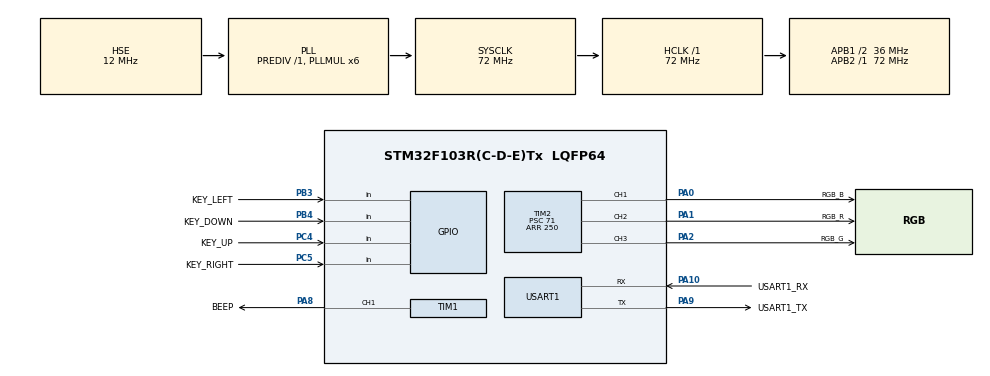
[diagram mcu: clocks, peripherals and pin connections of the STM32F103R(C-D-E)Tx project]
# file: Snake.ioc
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Mcu.Family=STM32F1
Mcu.Name=STM32F103R(C-D-E)Tx
Mcu.Package=LQFP64
NVIC.PriorityGroup=NVIC_PRIORITYGROUP_4
NVIC.USART1_IRQn=true\:0\:0\:false\:false\:true\:true\:true
PA0-WKUP.GPIO_Label=RGB_B
PA0-WKUP.Signal=S_TIM2_CH1_ETR
PA1.GPIO_Label=RGB_R
PA1.Signal=S_TIM2_CH2
PA10.GPIO_Label=USART1_RX
PA10.Mode=Asynchronous
PA10.Signal=USART1_RX
PA13.Mode=Serial_Wire
PA13.Signal=SYS_JTMS-SWDIO
PA14.Mode=Serial_Wire
PA14.Signal=SYS_JTCK-SWCLK
PA2.GPIO_Label=RGB_G
PA2.Signal=S_TIM2_CH3
PA8.GPIO_Label=BEEP
PA8.Signal=S_TIM1_CH1
PA9.GPIO_Label=USART1_TX
PA9.Mode=Asynchronous
PA9.Signal=USART1_TX
PB3.GPIO_Label=KEY_LEFT
PB3.Signal=GPIO_Input
PB4.GPIO_Label=KEY_DOWN
PB4.Signal=GPIO_Input
PC4.GPIO_Label=KEY_UP
PC4.Signal=GPIO_Input
PC5.GPIO_Label=KEY_RIGHT
PC5.Signal=GPIO_Input
PD0-OSC_IN.Mode=HSE-External-Oscillator
PD0-OSC_IN.Signal=RCC_OSC_IN
PD1-OSC_OUT.Mode=HSE-External-Oscillator
PD1-OSC_OUT.Signal=RCC_OSC_OUT
ProjectManager.HeapSize=0x200
ProjectManager.StackSize=0x400
ProjectManager.TargetToolchain=TrueSTUDIO
RCC.AHBFreq_Value=72000000
RCC.APB1CLKDivider=RCC_HCLK_DIV2
RCC.APB1Freq_Value=36000000
RCC.APB1TimFreq_Value=72000000
RCC.APB2Freq_Value=72000000
RCC.APB2TimFreq_Value=72000000
RCC.HCLKFreq_Value=72000000
RCC.HSE_VALUE=12000000
RCC.PLLMUL=RCC_PLL_MUL6
RCC.PLLSourceVirtual=RCC_PLLSOURCE_HSE
RCC.SYSCLKFreq_VALUE=72000000
RCC.SYSCLKSource=RCC_SYSCLKSOURCE_PLLCLK
RCC.USBFreq_Value=72000000
SH.S_TIM1_CH1.0=TIM1_CH1,PWM Generation1 CH1
SH.S_TIM2_CH1_ETR.0=TIM2_CH1,PWM Generation1 CH1
SH.S_TIM2_CH2.0=TIM2_CH2,PWM Generation2 CH2
SH.S_TIM2_CH3.0=TIM2_CH3,PWM Generation3 CH3
TIM1.AutoReloadPreload=TIM_AUTORELOAD_PRELOAD_ENABLE
TIM1.Channel-PWM\ Generation1\ CH1=TIM_CHANNEL_1
TIM1.OCIdleState_1=TIM_OCIDLESTATE_SET
TIM1.Period=250
TIM1.Prescaler=71
TIM1.Pulse-PWM\ Generation1\ CH1=125
TIM1.RepetitionCounter=4
TIM2.AutoReloadPreload=TIM_AUTORELOAD_PRELOAD_ENABLE
TIM2.Channel-PWM\ Generation1\ CH1=TIM_CHANNEL_1
TIM2.Channel-PWM\ Generation2\ CH2=TIM_CHANNEL_2
TIM2.Channel-PWM\ Generation3\ CH3=TIM_CHANNEL_3
TIM2.OCPolarity_1=TIM_OCPOLARITY_LOW
TIM2.OCPolarity_2=TIM_OCPOLARITY_LOW
TIM2.OCPolarity_3=TIM_OCPOLARITY_LOW
TIM2.Period=250
TIM2.Prescaler=71
TIM2.Pulse-PWM\ Generation2\ CH2=0
TIM2.Pulse-PWM\ Generation3\ CH3=0
USART1.VirtualMode=VM_ASYNC
board=custom

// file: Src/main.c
/* USER CODE BEGIN Header */
/**
  ******************************************************************************
  * @file           : main.c
  * @brief          : Main program body
  ******************************************************************************
  * @attention
  *
  * <h2><center>&copy; Copyright (c) 2019 STMicroelectronics.
  * All rights reserved.</center></h2>
  *
  * This software component is licensed by ST under BSD 3-Clause license,
  * the "License"; You may not use this file except in compliance with the
  * License. You may obtain a copy of the License at:
  *                        opensource.org/licenses/BSD-3-Clause
  *
  ******************************************************************************
  */
/* USER CODE END Header */

#include "main.h"
#include "tim.h"
#include "usart.h"
#include "gpio.h"

/* USER CODE BEGIN PV */
char rcvData[5];	// 存储串口接收到的自定义的一帧数据
uint8_t rcvIndex;	// 用来记录rcvData数组接收到数据的最高位下标
char ch;			// 串口接收Buffer
uint8_t frameStart;	// 标识遇到自定义的数据包头，一帧数据开始
/* USER CODE END PV */

void SystemClock_Config(void);

int main(void)
{
  /* USER CODE BEGIN 1 */
  uint8_t upFlag = 0;			// 用来标识四个按键是否被按下
  uint8_t downFlag = 0;
  uint8_t leftFlag = 0;
  uint8_t rightFlag = 0;
  uint16_t beepCount = 0;		// 用来计数蜂鸣器鸣响在主循环的次数
  /* USER CODE END 1 */

  /* MCU Configuration--------------------------------------------------------*/

  /* Reset of all peripherals, Initializes the Flash interface and the Systick. */
  HAL_Init();

  /* Configure the system clock */
  SystemClock_Config();

  /* Initialize all configured peripherals */
  MX_GPIO_Init();
  MX_TIM1_Init();
  MX_USART1_UART_Init();
  MX_TIM2_Init();
  /* USER CODE BEGIN 2 */
  // 初始化串口接收相关变量，开启串口接收中断
  rcvIndex = 0;		// 清空接收帧的内容
  frameStart = 0;	// 没有接收到一帧数据
  HAL_UART_Receive_IT(&huart1, &ch, 1);			// 开启接收中断
  // 打开RGB三个引脚的PWM输出
  HAL_TIM_PWM_Start(&htim2, TIM_CHANNEL_1);
  HAL_TIM_PWM_Start(&htim2, TIM_CHANNEL_2);
  HAL_TIM_PWM_Start(&htim2, TIM_CHANNEL_3);
  /* USER CODE END 2 */

  /* Infinite loop */
  /* USER CODE BEGIN WHILE */
  while (1)
  {
	// up
	if(HAL_GPIO_ReadPin(KEY_UP_GPIO_Port, KEY_UP_Pin) == 1 && upFlag == 0){
		RGB_On();
		SendString("<W>", 3);
		upFlag = 1;
	}
	if(HAL_GPIO_ReadPin(KEY_UP_GPIO_Port, KEY_UP_Pin) == 0 && upFlag == 1){
		RGB_Off();
		upFlag = 0;
	}
	// down
	if(HAL_GPIO_ReadPin(KEY_DOWN_GPIO_Port, KEY_DOWN_Pin) == 1 && downFlag == 0){
		RGB_On();
		SendString("<S>", 3);
		downFlag = 1;
	}
	if(HAL_GPIO_ReadPin(KEY_DOWN_GPIO_Port, KEY_DOWN_Pin) == 0 && downFlag == 1){
		RGB_Off();
		downFlag = 0;
	}
	// left
	if(HAL_GPIO_ReadPin(KEY_LEFT_GPIO_Port, KEY_LEFT_Pin) == 1 && leftFlag == 0){
		RGB_On();
		SendString("<A>", 3);
		leftFlag = 1;
	}
	if(HAL_GPIO_ReadPin(KEY_LEFT_GPIO_Port, KEY_LEFT_Pin) == 0 && leftFlag == 1){
		RGB_Off();
		leftFlag = 0;
	}
	// right
	if(HAL_GPIO_ReadPin(KEY_RIGHT_GPIO_Port, KEY_RIGHT_Pin) == 1 && rightFlag == 0){
		RGB_On();
		SendString("<D>", 3);
		rightFlag = 1;
	}
	if(HAL_GPIO_ReadPin(KEY_RIGHT_GPIO_Port, KEY_RIGHT_Pin) == 0 && rightFlag == 1){
		RGB_Off();
		rightFlag = 0;
	}
	// 控制蜂鸣器，判断蜂鸣器是否在响
	if(isBeeping() == 1){
		beepCount++;
		if(beepCount >= 0x1FFF){
			Beep_Stop();	// 关闭蜂鸣器
			beepCount = 0;
		}
	}
    /* USER CODE END WHILE */

  }
}

void SystemClock_Config(void)
{
  RCC_OscInitTypeDef RCC_OscInitStruct = {0};
  RCC_ClkInitTypeDef RCC_ClkInitStruct = {0};

  /** Initializes the CPU, AHB and APB busses clocks
  */
  RCC_OscInitStruct.OscillatorType = RCC_OSCILLATORTYPE_HSE;
  RCC_OscInitStruct.HSEState = RCC_HSE_ON;
  RCC_OscInitStruct.HSEPredivValue = RCC_HSE_PREDIV_DIV1;
  RCC_OscInitStruct.HSIState = RCC_HSI_ON;
  RCC_OscInitStruct.PLL.PLLState = RCC_PLL_ON;
  RCC_OscInitStruct.PLL.PLLSource = RCC_PLLSOURCE_HSE;
  RCC_OscInitStruct.PLL.PLLMUL = RCC_PLL_MUL6;
  if (HAL_RCC_OscConfig(&RCC_OscInitStruct) != HAL_OK)
  {
    Error_Handler();
  }
  /** Initializes the CPU, AHB and APB busses clocks
  */
  RCC_ClkInitStruct.ClockType = RCC_CLOCKTYPE_HCLK|RCC_CLOCKTYPE_SYSCLK
                              |RCC_CLOCKTYPE_PCLK1|RCC_CLOCKTYPE_PCLK2;
  RCC_ClkInitStruct.SYSCLKSource = RCC_SYSCLKSOURCE_PLLCLK;
  RCC_ClkInitStruct.AHBCLKDivider = RCC_SYSCLK_DIV1;
  RCC_ClkInitStruct.APB1CLKDivider = RCC_HCLK_DIV2;
  RCC_ClkInitStruct.APB2CLKDivider = RCC_HCLK_DIV1;

  if (HAL_RCC_ClockConfig(&RCC_ClkInitStruct, FLASH_LATENCY_2) != HAL_OK)
  {
    Error_Handler();
  }
}

void Error_Handler(void)
{
}

/************************ (C) COPYRIGHT STMicroelectronics *****END OF FILE****/
